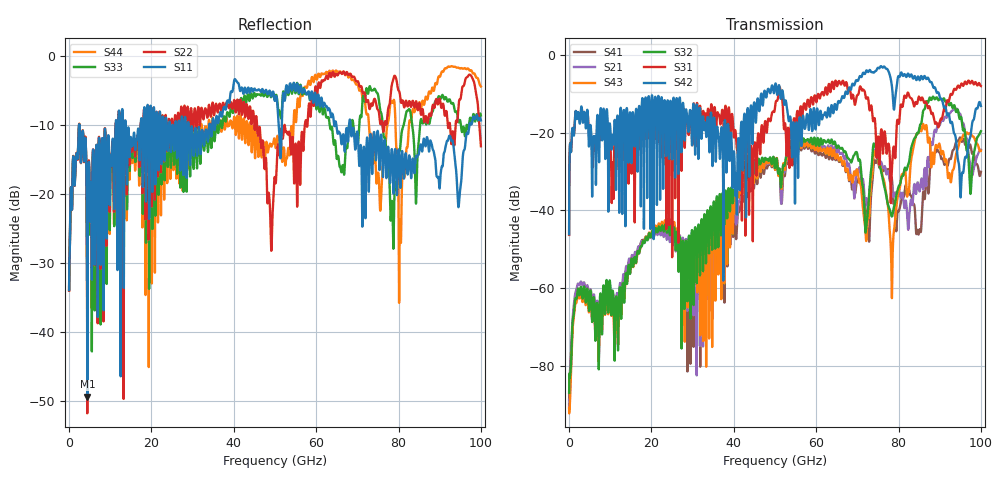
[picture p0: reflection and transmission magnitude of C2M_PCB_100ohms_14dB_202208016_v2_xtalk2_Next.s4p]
! Info: Touchstone file created by Circ.  Input file=Intel_C2M_200G_3p5in_202208016_staggered.circ
# Hz S RI R 50
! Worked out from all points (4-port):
!   10000 points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, 10 MHz to 100 GHz, reference 50 ohm
!   strongest paths, dB at 10 MHz, 25.01 GHz, 50.01 GHz, 75.01 GHz, 100 GHz:
!     S42: -46.1, -26.9, -7.8, -3.3, -13.1
!     S31: -46.3, -35.0, -13.4, -21.1, -8.0
!     S32: -87.0, -45.3, -29.1, -26.1, -19.6
!     S43: -91.1, -43.3, -29.5, -26.6, -24.7
!     S21: -88.8, -47.2, -29.2, -25.8, -24.4
!     S41: -90.7, -44.9, -29.5, -27.3, -30.1
!   lowest |S11| = -49.4 dB at 4.43 GHz (marker M1), VSWR 1.01, Z = 50.1 + j0.328 ohm
!   |S11| at or under -10 dB: 2.53 GHz to 11.31 GHz (8.776 GHz wide, 127 % of centre); 29.05 GHz to 34.01 GHz (4.964 GHz wide, 15.7 % of centre); 68.38 GHz to 97.21 GHz (28.84 GHz wide, 34.8 % of centre)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
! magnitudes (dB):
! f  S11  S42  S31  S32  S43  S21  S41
! 10 MHz  -34.0  -46.1  -46.3  -87.0  -91.1  -88.8  -90.7
! 4.43 GHz  -49.4  -14.1  -15.1  -60.2  -62.5  -59.3  -61.4
! 56.34 GHz  -4.5  -22.5  -13.4  -22.6  -23.9  -22.9  -24.5
! 78.37 GHz  -13.5  -7.8  -30.0  -41.6  -61.9  -33.0  -31.8
! 85.55 GHz  -13.1  -5.4  -11.3  -17.5  -19.6  -31.9  -44.0
! 95.28 GHz  -17.7  -32.1  -7.4  -16.4  -21.8  -16.5  -22.2
! 100 GHz  -9.3  -13.1  -8.0  -19.6  -24.7  -24.4  -30.1
